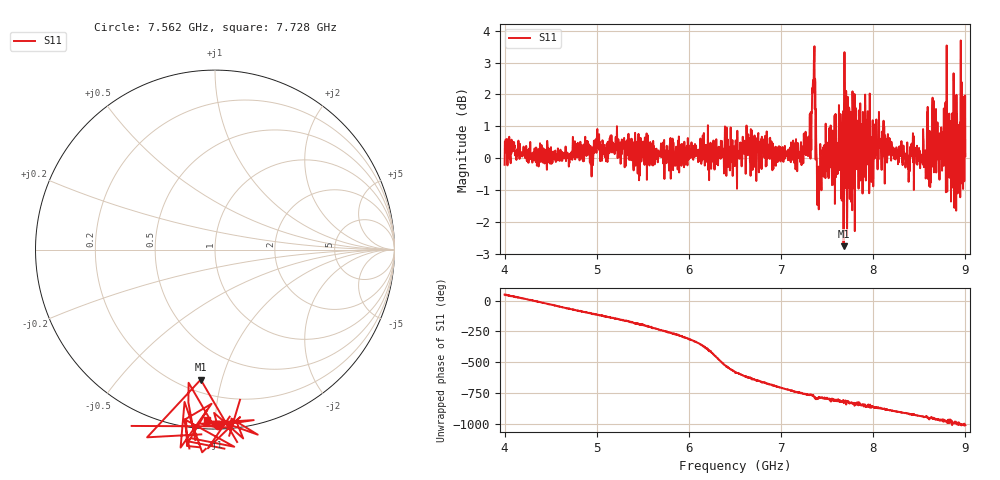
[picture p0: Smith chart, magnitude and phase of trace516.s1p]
! Created with skrf 1.8.0 (http://scikit-rf.org).
# Hz S RI R 50.0
!freq ReS11 ImS11
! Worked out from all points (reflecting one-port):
!   1601 points, 4 GHz to 9 GHz, reference 50 ohm
!   lowest |S11| = -2.7 dB at 7.678 GHz (marker M1), VSWR 6.37, Z = 13.9 - j42.9 ohm
!   phase of S11 starts at 48 deg and turns -1056 deg over the sweep
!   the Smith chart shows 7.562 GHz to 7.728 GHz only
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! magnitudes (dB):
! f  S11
! 4 GHz  -0.2
! 4.625 GHz  -0.1
! 5.003 GHz  0.7
! 5.25 GHz  0.0
! 5.875 GHz  0.3
! 6.5 GHz  -0.1
! 6.647 GHz  0.1
! 7.125 GHz  0.3
! 7.294 GHz  0.1
! 7.347 GHz  2.5
! 7.362 GHz  3.5
! 7.397 GHz  -1.0
! 7.416 GHz  -0.8
! 7.509 GHz  -0.5
! 7.591 GHz  1.4
! 7.678 GHz  -2.7
! 7.75 GHz  1.0
! 7.784 GHz  -0.4
! 7.828 GHz  0.5
! 8.088 GHz  0.0
! 8.375 GHz  -0.1
! 8.612 GHz  0.9
! 8.656 GHz  1.8
! 8.694 GHz  0.0
! 8.816 GHz  -0.4
! 8.844 GHz  -1.4
! 8.972 GHz  0.8
! 9 GHz  0.1
